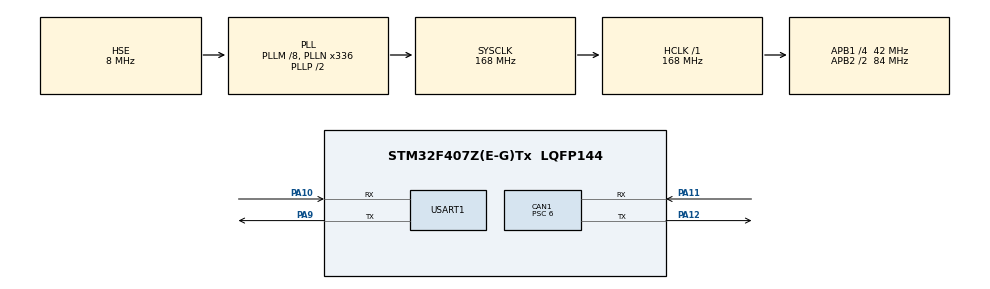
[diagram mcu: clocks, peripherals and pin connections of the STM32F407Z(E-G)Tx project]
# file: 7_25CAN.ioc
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CAN1.BS1=CAN_BS1_2TQ
CAN1.BS2=CAN_BS2_4TQ
CAN1.CalculateBaudRate=1000000
CAN1.CalculateTimeBit=1000
CAN1.CalculateTimeQuantum=142.85714285714286
CAN1.Prescaler=6
Mcu.Family=STM32F4
Mcu.Name=STM32F407Z(E-G)Tx
Mcu.Package=LQFP144
NVIC.PriorityGroup=NVIC_PRIORITYGROUP_4
NVIC.TIM2_IRQn=true\:0\:0\:false\:false\:true\:true\:true\:true
NVIC.USART1_IRQn=true\:1\:0\:true\:false\:true\:true\:true\:true
PA10.Mode=Asynchronous
PA10.Signal=USART1_RX
PA11.Mode=CAN_Activate
PA11.Signal=CAN1_RX
PA12.Mode=CAN_Activate
PA12.Signal=CAN1_TX
PA13.Mode=Serial_Wire
PA13.Signal=SYS_JTMS-SWDIO
PA14.Mode=Serial_Wire
PA14.Signal=SYS_JTCK-SWCLK
PA9.Mode=Asynchronous
PA9.Signal=USART1_TX
PH0-OSC_IN.Mode=HSE-External-Oscillator
PH0-OSC_IN.Signal=RCC_OSC_IN
PH1-OSC_OUT.Mode=HSE-External-Oscillator
PH1-OSC_OUT.Signal=RCC_OSC_OUT
ProjectManager.HeapSize=0x200
ProjectManager.StackSize=0x400
ProjectManager.TargetToolchain=MDK-ARM V5
RCC.48MHZClocksFreq_Value=84000000
RCC.AHBFreq_Value=168000000
RCC.APB1CLKDivider=RCC_HCLK_DIV4
RCC.APB1Freq_Value=42000000
RCC.APB1TimFreq_Value=84000000
RCC.APB2CLKDivider=RCC_HCLK_DIV2
RCC.APB2Freq_Value=84000000
RCC.APB2TimFreq_Value=168000000
RCC.CortexFreq_Value=168000000
RCC.HCLKFreq_Value=168000000
RCC.HSE_VALUE=8000000
RCC.HSI_VALUE=16000000
RCC.LSE_VALUE=32768
RCC.PLLM=8
RCC.PLLN=336
RCC.PLLSourceVirtual=RCC_PLLSOURCE_HSE
RCC.SYSCLKFreq_VALUE=168000000
RCC.SYSCLKSource=RCC_SYSCLKSOURCE_PLLCLK
RCC.VCOOutputFreq_Value=336000000
TIM2.AutoReloadPreload=TIM_AUTORELOAD_PRELOAD_ENABLE
TIM2.Period=100-1
TIM2.Prescaler=840-1
USART1.VirtualMode=VM_ASYNC
VP_TIM2_VS_ClockSourceINT.Mode=Internal
board=custom

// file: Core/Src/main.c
/* USER CODE BEGIN Header */
/**
  ******************************************************************************
  * @file           : main.c
  * @brief          : Main program body
  ******************************************************************************
  * @attention
  *
  * Copyright (c) 2022 STMicroelectronics.
  * All rights reserved.
  *
  * This software is licensed under terms that can be found in the LICENSE file
  * in the root directory of this software component.
  * If no LICENSE file comes with this software, it is provided AS-IS.
  *
  ******************************************************************************
  */
/* USER CODE END Header */
#include "main.h"
#include "can.h"
#include "tim.h"
#include "usart.h"
#include "gpio.h"

/* USER CODE BEGIN Includes */
#include "motor.h"
#include "pid.h"
/* USER CODE END Includes */

/* USER CODE BEGIN PV */
#define MOTOR_NUM 	4

PID_TypeDef moto_pid[MOTOR_NUM];
int16_t g = 0;
int spd_target[4] =	{1500, 1500, 1500, 1500};

extern motor_measure_t motor_chassis[8];

/* USER CODE END PV */

void SystemClock_Config(void);

/* USER CODE BEGIN 0 */
//定时器中断函数
void HAL_TIM_PeriodElapsedCallback(TIM_HandleTypeDef *htim)
{

	if(htim == (&htim2))
	{

		Receive_Motor(&hcan1);

		for(g=0;g<MOTOR_NUM;g++)
		{
			//计算pid以及电机控速

			moto_pid[g].target = spd_target[g];

			moto_pid[g].f_cal_pid(moto_pid+g, motor_chassis[g].speed_rpm);

//			printf("looper %d \r\n", g);

		}
//			Send_Motor(&hcan1, moto_pid[0].output, moto_pid[1].output, moto_pid[2].output, moto_pid[3].output, 0x200, 0x12, CAN_ID_STD, CAN_RTR_DATA, 0x08);
			Send_Motor(&hcan1, moto_pid[0].output, moto_pid[1].output, moto_pid[2].output, moto_pid[3].output, 0x200, 0x12, CAN_ID_STD, CAN_RTR_DATA, 0x08);
//			printf("M1 output speed is %d \r\n", moto_pid[0].output);
//			printf("M2 output speed is %d \r\n", moto_pid[1].output);
//			printf("M3 output speed is %d \r\n", moto_pid[2].output);
//			printf("M4 output speed is %d \r\n", moto_pid[3].output);

	}

}
/* USER CODE END 0 */

int main(void)
{

  /* MCU Configuration--------------------------------------------------------*/

  /* Reset of all peripherals, Initializes the Flash interface and the Systick. */
  HAL_Init();

  /* USER CODE BEGIN Init */
	for(g=0;g<MOTOR_NUM;g++)
	{
		pid_init(moto_pid+g);
	}

	moto_pid[0].f_param_init(moto_pid,PID_Speed,16384,1000,5,0,8000,0,2.5,0.12,1);
	moto_pid[1].f_param_init(moto_pid+1,PID_Speed,16384,1000,5,0,8000,0,2.5,0.12,1);
	moto_pid[2].f_param_init(moto_pid+2,PID_Speed,16384,1000,5,0,8000,0,2.5,0.12,1);
	moto_pid[3].f_param_init(moto_pid+3,PID_Speed,16384,1000,5,0,8000,0,2.5,0.12,1);

	printf("PID初始化结束。\r\n");
  /* USER CODE END Init */

  /* Configure the system clock */
  SystemClock_Config();

  /* Initialize all configured peripherals */
  MX_GPIO_Init();
  MX_CAN1_Init();
  MX_USART1_UART_Init();
  MX_TIM2_Init();
  /* USER CODE BEGIN 2 */
  filter1_init();
	HAL_CAN_Start(&hcan1);
	HAL_TIM_Base_Start_IT(&htim2);
//	HAL_CAN_ActivateNotification(&hcan1,CAN_IT_RX_FIFO0_MSG_PENDING);
  /* USER CODE END 2 */

  /* Infinite loop */
  while (1)
  {

    /* USER CODE BEGIN 3 */
//			Send_Motor(&hcan1, moto_pid[0].output, 0, 0, 0, 0x200, 0x12, CAN_ID_STD, CAN_RTR_DATA, 0x08);

  }
  /* USER CODE END 3 */
}

void SystemClock_Config(void)
{
  RCC_OscInitTypeDef RCC_OscInitStruct = {0};
  RCC_ClkInitTypeDef RCC_ClkInitStruct = {0};

  /** Configure the main internal regulator output voltage
  */
  __HAL_RCC_PWR_CLK_ENABLE();
  __HAL_PWR_VOLTAGESCALING_CONFIG(PWR_REGULATOR_VOLTAGE_SCALE1);

  /** Initializes the RCC Oscillators according to the specified parameters
  * in the RCC_OscInitTypeDef structure.
  */
  RCC_OscInitStruct.OscillatorType = RCC_OSCILLATORTYPE_HSE;
  RCC_OscInitStruct.HSEState = RCC_HSE_ON;
  RCC_OscInitStruct.PLL.PLLState = RCC_PLL_ON;
  RCC_OscInitStruct.PLL.PLLSource = RCC_PLLSOURCE_HSE;
  RCC_OscInitStruct.PLL.PLLM = 8;
  RCC_OscInitStruct.PLL.PLLN = 336;
  RCC_OscInitStruct.PLL.PLLP = RCC_PLLP_DIV2;
  RCC_OscInitStruct.PLL.PLLQ = 4;
  if (HAL_RCC_OscConfig(&RCC_OscInitStruct) != HAL_OK)
  {
    Error_Handler();
  }

  /** Initializes the CPU, AHB and APB buses clocks
  */
  RCC_ClkInitStruct.ClockType = RCC_CLOCKTYPE_HCLK|RCC_CLOCKTYPE_SYSCLK
                              |RCC_CLOCKTYPE_PCLK1|RCC_CLOCKTYPE_PCLK2;
  RCC_ClkInitStruct.SYSCLKSource = RCC_SYSCLKSOURCE_PLLCLK;
  RCC_ClkInitStruct.AHBCLKDivider = RCC_SYSCLK_DIV1;
  RCC_ClkInitStruct.APB1CLKDivider = RCC_HCLK_DIV4;
  RCC_ClkInitStruct.APB2CLKDivider = RCC_HCLK_DIV2;

  if (HAL_RCC_ClockConfig(&RCC_ClkInitStruct, FLASH_LATENCY_5) != HAL_OK)
  {
    Error_Handler();
  }
}

void Error_Handler(void)
{
  __disable_irq();
  while (1)
  {
  }
}
